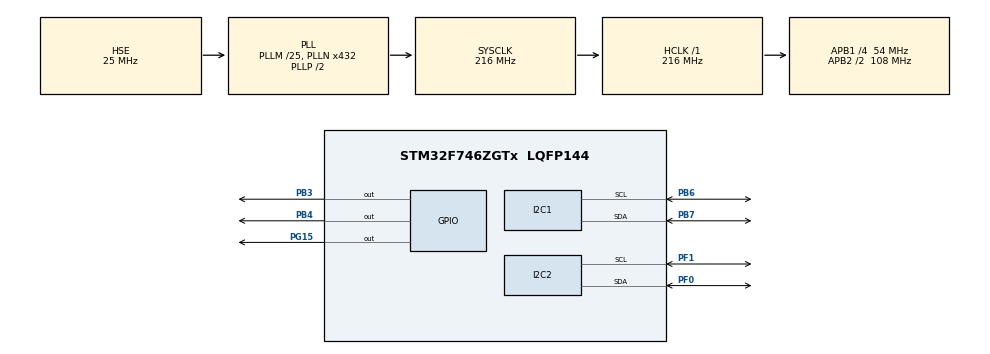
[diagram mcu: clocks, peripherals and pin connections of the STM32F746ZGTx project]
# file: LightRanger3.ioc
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I2C1.Timing=0x20404768
Mcu.Family=STM32F7
Mcu.Name=STM32F746ZGTx
Mcu.Package=LQFP144
NVIC.PriorityGroup=NVIC_PRIORITYGROUP_4
PB3.Signal=GPIO_Output
PB4.Signal=GPIO_Output
PB6.Mode=I2C
PB6.Signal=I2C1_SCL
PB7.Mode=I2C
PB7.Signal=I2C1_SDA
PF0.Mode=I2C
PF0.Signal=I2C2_SDA
PF1.Mode=I2C
PF1.Signal=I2C2_SCL
PG15.Signal=GPIO_Output
PH0/OSC_IN.Mode=HSE-External-Oscillator
PH0/OSC_IN.Signal=RCC_OSC_IN
PH1/OSC_OUT.Mode=HSE-External-Oscillator
PH1/OSC_OUT.Signal=RCC_OSC_OUT
ProjectManager.HeapSize=0x200
ProjectManager.StackSize=0x400
ProjectManager.TargetToolchain=SW4STM32
RCC.AHBFreq_Value=216000000
RCC.APB1CLKDivider=RCC_HCLK_DIV4
RCC.APB1Freq_Value=54000000
RCC.APB1TimFreq_Value=108000000
RCC.APB2CLKDivider=RCC_HCLK_DIV2
RCC.APB2Freq_Value=108000000
RCC.APB2TimFreq_Value=216000000
RCC.CortexFreq_Value=216000000
RCC.HCLKFreq_Value=216000000
RCC.HSE_VALUE=25000000
RCC.HSI_VALUE=16000000
RCC.LSE_VALUE=32768
RCC.PLLM=25
RCC.PLLN=432
RCC.PLLSourceVirtual=RCC_PLLSOURCE_HSE
RCC.SYSCLKFreq_VALUE=216000000
RCC.SYSCLKSource=RCC_SYSCLKSOURCE_PLLCLK
RCC.USBFreq_Value=216000000
RCC.VCOOutputFreq_Value=432000000
board=custom

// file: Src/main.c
/**
  ******************************************************************************
  * @file           : main.c
  * @brief          : Main program body
  ******************************************************************************
  ** This notice applies to any and all portions of this file
  * that are not between comment pairs USER CODE BEGIN and
  * USER CODE END. Other portions of this file, whether
  * inserted by the user or by software development tools
  * are owned by their respective copyright owners.
  *
  * COPYRIGHT(c) 2020 STMicroelectronics
  *
  * Redistribution and use in source and binary forms, with or without modification,
  * are permitted provided that the following conditions are met:
  *   1. Redistributions of source code must retain the above copyright notice,
  *      this list of conditions and the following disclaimer.
  *   2. Redistributions in binary form must reproduce the above copyright notice,
  *      this list of conditions and the following disclaimer in the documentation
  *      and/or other materials provided with the distribution.
  *   3. Neither the name of STMicroelectronics nor the names of its contributors
  *      may be used to endorse or promote products derived from this software
  *      without specific prior written permission.
  *
  * THIS SOFTWARE IS PROVIDED BY THE COPYRIGHT HOLDERS AND CONTRIBUTORS "AS IS"
  * AND ANY EXPRESS OR IMPLIED WARRANTIES, INCLUDING, BUT NOT LIMITED TO, THE
  * IMPLIED WARRANTIES OF MERCHANTABILITY AND FITNESS FOR A PARTICULAR PURPOSE ARE
  * DISCLAIMED. IN NO EVENT SHALL THE COPYRIGHT HOLDER OR CONTRIBUTORS BE LIABLE
  * FOR ANY DIRECT, INDIRECT, INCIDENTAL, SPECIAL, EXEMPLARY, OR CONSEQUENTIAL
  * DAMAGES (INCLUDING, BUT NOT LIMITED TO, PROCUREMENT OF SUBSTITUTE GOODS OR
  * SERVICES; LOSS OF USE, DATA, OR PROFITS; OR BUSINESS INTERRUPTION) HOWEVER
  * CAUSED AND ON ANY THEORY OF LIABILITY, WHETHER IN CONTRACT, STRICT LIABILITY,
  * OR TORT (INCLUDING NEGLIGENCE OR OTHERWISE) ARISING IN ANY WAY OUT OF THE USE
  * OF THIS SOFTWARE, EVEN IF ADVISED OF THE POSSIBILITY OF SUCH DAMAGE.
  *
  ******************************************************************************
  */
#include "main.h"
#include "stm32f7xx_hal.h"

/* USER CODE BEGIN Includes */
#include "STMPE610.h"
#include "SSD1963.h"
#include "GUI.h"
#include "Windows/TestDLG.h"
#include <stdbool.h>
#include "rfd.h"

/* USER CODE END Includes */

I2C_HandleTypeDef hi2c1;
I2C_HandleTypeDef hi2c2;

/* USER CODE BEGIN PV */
/* Private variables ---------------------------------------------------------*/

#define  Min 10
#define  Max 2000

WM_HWIN hWin;
int keyPressed=0;
int i=0;
char message[20];
unsigned char buf[20];

/* USER CODE END PV */

void SystemClock_Config(void);
static void MX_GPIO_Init(void);
static void MX_I2C1_Init(void);
static void MX_I2C2_Init(void);

/* USER CODE BEGIN PFP */
/* Private function prototypes -----------------------------------------------*/
extern volatile GUI_TIMER_TIME OS_TimeMS;
void HAL_SYSTICK_Callback(void)
{
	OS_TimeMS++;
}

/* USER CODE END PFP */

int main(void)
{

  /* MCU Configuration----------------------------------------------------------*/

  /* Reset of all peripherals, Initializes the Flash interface and the Systick. */
  HAL_Init();

  /* Configure the system clock */
  SystemClock_Config();

  /* Initialize all configured peripherals */
  MX_GPIO_Init();
  MX_I2C1_Init();
  MX_I2C2_Init();
  /* USER CODE BEGIN 2 */
  Init_LCD_GPIO();
  Init_TOUCH_GPIO(hi2c1);

  WM_SetCreateFlags(WM_CF_MEMDEV); // eliminise flickering
  GUI_Init();
  GUI_Clear();

  hWin = CreateLightRang();

  	  if (!begin()) {
    		  sprintf(message, "%s", "Failed");
    		  TEXT_SetText(WM_GetDialogItem(hWin, ID_TEXT_0), message);
    		  GUI_Exec();
    	  }else{
    		  	  sprintf(message, "%s", "Begin");
    		  	  TEXT_SetText(WM_GetDialogItem(hWin, ID_TEXT_0), message);
    		  	  GUI_Exec();
    	  	   }
  	GUI_Exec();
  /* USER CODE END 2 */

  /* Infinite loop */
  /* USER CODE BEGIN WHILE */
  	 bool  sw = false;
  while (1)
  {
	  	  STMPE610_read_xyz();
	 	  GUI_TOUCH_Exec();
	 	  keyPressed=GUI_GetKey();
	 	  GUI_Delay(10);

	 	  switch(keyPressed)
	 	  {
	 	  	  case ID_BUTTON_0:
	 	  		  	if(sw)
	 	  		  		sw=false;
	 	  		  	else
	 	  		  		sw=true;

	 	  		  	if(sw){
	 	  		  		sprintf(message, "%s", "Connected");

	 	  		  	}else{
	 	  		  		sprintf(message, "%s", "Disconnected");
	 	  		  	}
	 	  		  TEXT_SetText(WM_GetDialogItem(hWin, ID_TEXT_0), message);
	 	  		  GUI_Exec();
	 	  			break;
	 	  	  default : break;
	 	  }

	 	 takeMeasurement(); //Tell sensor to take measurement
	 	 distance = getDistance(); //Retrieve the distance value

	 	 if(sw)
	 	 	 {
	 	 		 sprintf(buf, "%d \n", distance);
	 	 		 EDIT_SetText(WM_GetDialogItem(hWin,ID_EDIT_0), buf);
	 	 		 GUI_Exec();

	 	 	 //NECE DA OBOJI U CRVENO PROGBAR!!!!
	 	 	 PROGBAR_SetBarColor(WM_GetDialogItem(hWin, ID_PROGBAR_0),0, GUI_RED);
	 	 	 GUI_Exec();

	 	 	 	 int pom = (100.0*distance)/2000.0;
	 	 	 	 PROGBAR_SetValue(WM_GetDialogItem(hWin, ID_PROGBAR_0), distance);
	 	 	 	 GUI_Exec();

	 	 	 	 PROGBAR_SetMinMax(WM_GetDialogItem(hWin, ID_PROGBAR_0), Min, Max);
	 	 	 	 GUI_Exec();

  /* USER CODE END WHILE */

	 	 	 }
  }

}

void SystemClock_Config(void)
{

  RCC_OscInitTypeDef RCC_OscInitStruct;
  RCC_ClkInitTypeDef RCC_ClkInitStruct;
  RCC_PeriphCLKInitTypeDef PeriphClkInitStruct;

    /**Configure the main internal regulator output voltage
    */
  __HAL_RCC_PWR_CLK_ENABLE();

  __HAL_PWR_VOLTAGESCALING_CONFIG(PWR_REGULATOR_VOLTAGE_SCALE1);

    /**Initializes the CPU, AHB and APB busses clocks
    */
  RCC_OscInitStruct.OscillatorType = RCC_OSCILLATORTYPE_HSE;
  RCC_OscInitStruct.HSEState = RCC_HSE_ON;
  RCC_OscInitStruct.PLL.PLLState = RCC_PLL_ON;
  RCC_OscInitStruct.PLL.PLLSource = RCC_PLLSOURCE_HSE;
  RCC_OscInitStruct.PLL.PLLM = 25;
  RCC_OscInitStruct.PLL.PLLN = 432;
  RCC_OscInitStruct.PLL.PLLP = RCC_PLLP_DIV2;
  RCC_OscInitStruct.PLL.PLLQ = 2;
  if (HAL_RCC_OscConfig(&RCC_OscInitStruct) != HAL_OK)
  {
    _Error_Handler(__FILE__, __LINE__);
  }

    /**Activate the Over-Drive mode
    */
  if (HAL_PWREx_EnableOverDrive() != HAL_OK)
  {
    _Error_Handler(__FILE__, __LINE__);
  }

    /**Initializes the CPU, AHB and APB busses clocks
    */
  RCC_ClkInitStruct.ClockType = RCC_CLOCKTYPE_HCLK|RCC_CLOCKTYPE_SYSCLK
                              |RCC_CLOCKTYPE_PCLK1|RCC_CLOCKTYPE_PCLK2;
  RCC_ClkInitStruct.SYSCLKSource = RCC_SYSCLKSOURCE_PLLCLK;
  RCC_ClkInitStruct.AHBCLKDivider = RCC_SYSCLK_DIV1;
  RCC_ClkInitStruct.APB1CLKDivider = RCC_HCLK_DIV4;
  RCC_ClkInitStruct.APB2CLKDivider = RCC_HCLK_DIV2;

  if (HAL_RCC_ClockConfig(&RCC_ClkInitStruct, FLASH_LATENCY_7) != HAL_OK)
  {
    _Error_Handler(__FILE__, __LINE__);
  }

  PeriphClkInitStruct.PeriphClockSelection = RCC_PERIPHCLK_I2C1|RCC_PERIPHCLK_I2C2;
  PeriphClkInitStruct.I2c1ClockSelection = RCC_I2C1CLKSOURCE_PCLK1;
  PeriphClkInitStruct.I2c2ClockSelection = RCC_I2C2CLKSOURCE_PCLK1;
  if (HAL_RCCEx_PeriphCLKConfig(&PeriphClkInitStruct) != HAL_OK)
  {
    _Error_Handler(__FILE__, __LINE__);
  }

    /**Configure the Systick interrupt time
    */
  HAL_SYSTICK_Config(HAL_RCC_GetHCLKFreq()/1000);

    /**Configure the Systick
    */
  HAL_SYSTICK_CLKSourceConfig(SYSTICK_CLKSOURCE_HCLK);

  /* SysTick_IRQn interrupt configuration */
  HAL_NVIC_SetPriority(SysTick_IRQn, 0, 0);
}

/* I2C1 init function */
static void MX_I2C1_Init(void)
{

  hi2c1.Instance = I2C1;
  hi2c1.Init.Timing = 0x20404768;
  hi2c1.Init.OwnAddress1 = 0;
  hi2c1.Init.AddressingMode = I2C_ADDRESSINGMODE_7BIT;
  hi2c1.Init.DualAddressMode = I2C_DUALADDRESS_DISABLE;
  hi2c1.Init.OwnAddress2 = 0;
  hi2c1.Init.OwnAddress2Masks = I2C_OA2_NOMASK;
  hi2c1.Init.GeneralCallMode = I2C_GENERALCALL_DISABLE;
  hi2c1.Init.NoStretchMode = I2C_NOSTRETCH_DISABLE;
  if (HAL_I2C_Init(&hi2c1) != HAL_OK)
  {
    _Error_Handler(__FILE__, __LINE__);
  }

    /**Configure Analogue filter
    */
  if (HAL_I2CEx_ConfigAnalogFilter(&hi2c1, I2C_ANALOGFILTER_ENABLE) != HAL_OK)
  {
    _Error_Handler(__FILE__, __LINE__);
  }

    /**Configure Digital filter
    */
  if (HAL_I2CEx_ConfigDigitalFilter(&hi2c1, 0) != HAL_OK)
  {
    _Error_Handler(__FILE__, __LINE__);
  }

}

/* I2C2 init function */
static void MX_I2C2_Init(void)
{

  hi2c2.Instance = I2C2;
  hi2c2.Init.Timing = 0x00303D5B;
  hi2c2.Init.OwnAddress1 = 0;
  hi2c2.Init.AddressingMode = I2C_ADDRESSINGMODE_7BIT;
  hi2c2.Init.DualAddressMode = I2C_DUALADDRESS_DISABLE;
  hi2c2.Init.OwnAddress2 = 0;
  hi2c2.Init.OwnAddress2Masks = I2C_OA2_NOMASK;
  hi2c2.Init.GeneralCallMode = I2C_GENERALCALL_DISABLE;
  hi2c2.Init.NoStretchMode = I2C_NOSTRETCH_DISABLE;
  if (HAL_I2C_Init(&hi2c2) != HAL_OK)
  {
    _Error_Handler(__FILE__, __LINE__);
  }

    /**Configure Analogue filter
    */
  if (HAL_I2CEx_ConfigAnalogFilter(&hi2c2, I2C_ANALOGFILTER_ENABLE) != HAL_OK)
  {
    _Error_Handler(__FILE__, __LINE__);
  }

    /**Configure Digital filter
    */
  if (HAL_I2CEx_ConfigDigitalFilter(&hi2c2, 0) != HAL_OK)
  {
    _Error_Handler(__FILE__, __LINE__);
  }

}

/** Configure pins as
        * Analog
        * Input
        * Output
        * EVENT_OUT
        * EXTI
*/
static void MX_GPIO_Init(void)
{

  GPIO_InitTypeDef GPIO_InitStruct;

  /* GPIO Ports Clock Enable */
  __HAL_RCC_GPIOF_CLK_ENABLE();
  __HAL_RCC_GPIOH_CLK_ENABLE();
  __HAL_RCC_GPIOG_CLK_ENABLE();
  __HAL_RCC_GPIOB_CLK_ENABLE();

  /*Configure GPIO pin Output Level */
  HAL_GPIO_WritePin(GPIOG, GPIO_PIN_15, GPIO_PIN_RESET);

  /*Configure GPIO pin Output Level */
  HAL_GPIO_WritePin(GPIOB, GPIO_PIN_3|GPIO_PIN_4, GPIO_PIN_RESET);

  /*Configure GPIO pin : PG15 */
  GPIO_InitStruct.Pin = GPIO_PIN_15;
  GPIO_InitStruct.Mode = GPIO_MODE_OUTPUT_PP;
  GPIO_InitStruct.Pull = GPIO_NOPULL;
  GPIO_InitStruct.Speed = GPIO_SPEED_FREQ_LOW;
  HAL_GPIO_Init(GPIOG, &GPIO_InitStruct);

  /*Configure GPIO pins : PB3 PB4 */
  GPIO_InitStruct.Pin = GPIO_PIN_3|GPIO_PIN_4;
  GPIO_InitStruct.Mode = GPIO_MODE_OUTPUT_PP;
  GPIO_InitStruct.Pull = GPIO_NOPULL;
  GPIO_InitStruct.Speed = GPIO_SPEED_FREQ_LOW;
  HAL_GPIO_Init(GPIOB, &GPIO_InitStruct);

}

void _Error_Handler(char *file, int line)
{
  while(1)
  {
  }
}

/************************ (C) COPYRIGHT STMicroelectronics *****END OF FILE****/
